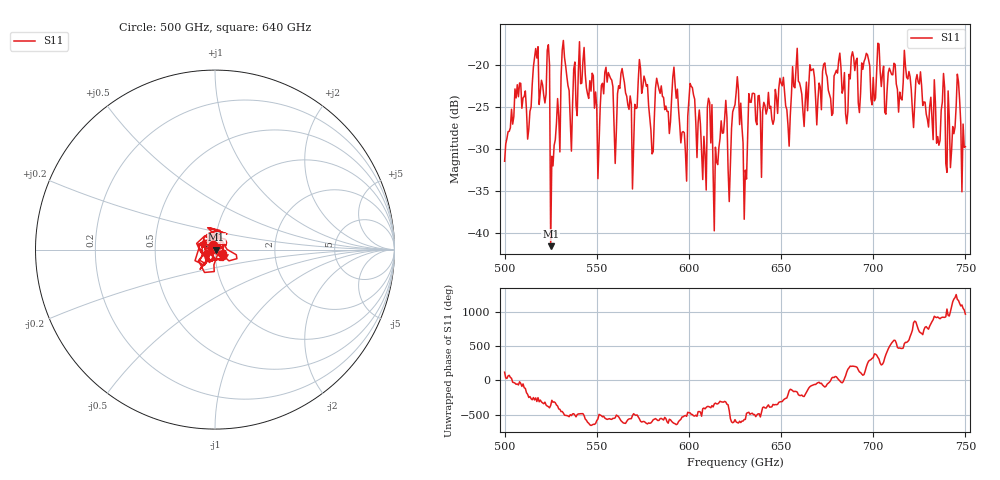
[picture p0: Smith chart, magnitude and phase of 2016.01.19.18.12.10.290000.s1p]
!Created with skrf (http://scikit-rf.org).
# GHz S RI R 50.0
!freq ReS11 ImS11
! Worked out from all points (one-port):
!   401 points, 500 GHz to 750 GHz, reference 50 ohm
!   lowest |S11| = -41.6 dB at 525 GHz (marker M1), VSWR 1.02, Z = 50.8 - j0.0629 ohm
!   |S11| at or under -10 dB: start of sweep to end of sweep
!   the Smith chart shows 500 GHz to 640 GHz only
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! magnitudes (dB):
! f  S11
! 500 GHz  -31.5
! 506.9 GHz  -22.4
! 513.1 GHz  -27.6
! 516.9 GHz  -18.0
! 523.1 GHz  -18.3
! 525 GHz  -41.6
! 526.2 GHz  -32.0
! 531.2 GHz  -18.2
! 541.9 GHz  -22.2
! 550 GHz  -25.1
! 562.5 GHz  -22.8
! 570.6 GHz  -24.7
! 574.4 GHz  -23.4
! 580 GHz  -30.6
! 583.1 GHz  -22.3
! 593.8 GHz  -22.9
! 597.5 GHz  -28.1
! 601.9 GHz  -22.7
! 608.1 GHz  -28.5
! 611.2 GHz  -24.5
! 614.4 GHz  -29.8
! 625 GHz  -24.7
! 630.6 GHz  -32.5
! 633.8 GHz  -24.5
! 656.2 GHz  -20.2
! 687.5 GHz  -21.7
! 718.8 GHz  -21.7
! 750 GHz  -29.7
